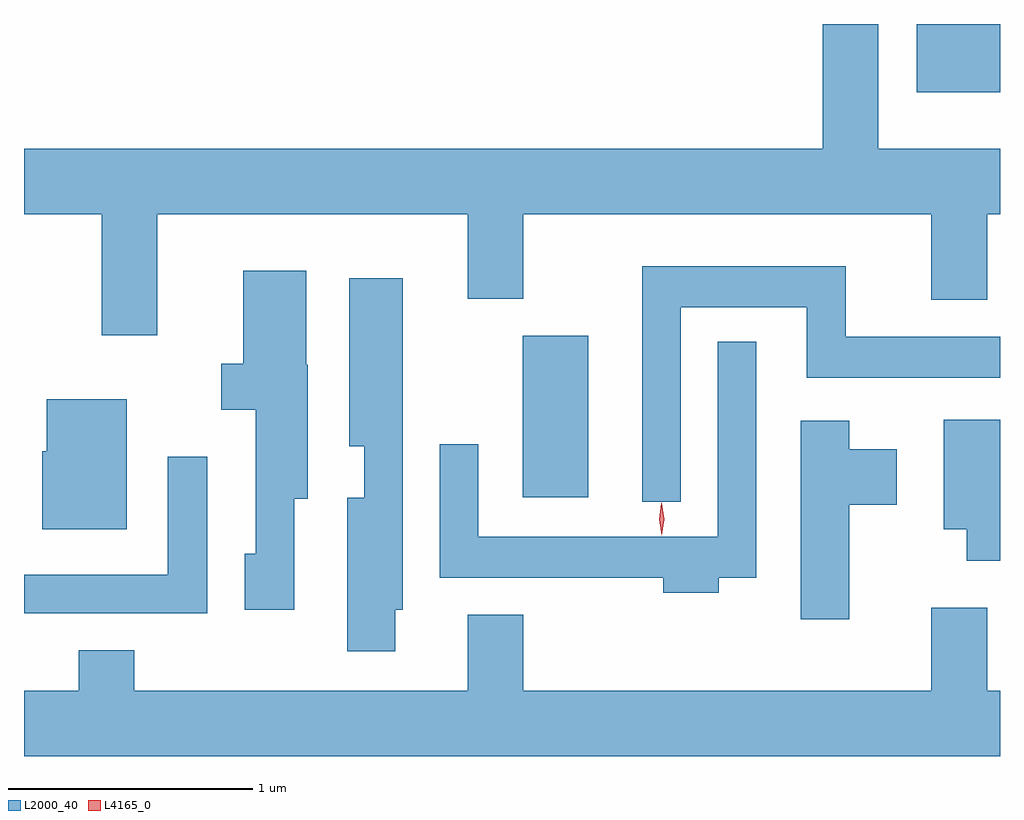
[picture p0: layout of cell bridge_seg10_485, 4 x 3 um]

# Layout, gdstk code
import gdstk
lib = gdstk.Library(unit=1e-6, precision=1e-09)
def R(c, l, rs):  # rectangles x0, y0, x1, y1
    for r in rs: c.add(gdstk.rectangle(r[:2], r[2:], *l))
def P(c, l, *ps):  # polygons
    for p in ps: c.add(gdstk.Polygon(p, *l))
L2000_40 = (2000, 40)
L4165_0 = (4165, 0)

bridge_seg10_485 = lib.new_cell('bridge_seg10_485')
R(bridge_seg10_485, L2000_40, [(907.166,2179.356,907.434,2180.019), (908.781,2181.016,909.122,2181.296)])
P(bridge_seg10_485, L2000_40, [(905.669,2180.516),(906.941,2180.516),(906.941,2180.171),(907.169,2180.171),(907.169,2180.516),(908.841,2180.516),(908.841,2180.166),(909.069,2180.166),(909.069,2180.516),(909.122,2180.516),(909.122,2180.784),(908.624,2180.784),(908.624,2181.296),(908.396,2181.296),(908.396,2180.784),(905.122,2180.784),(905.122,2180.516),(905.441,2180.516),(905.441,2180.021),(905.669,2180.021)],
  [(907.814,2180.136),(908.331,2180.136),(908.331,2179.846),(909.122,2179.846),(909.122,2180.014),(908.489,2180.014),(908.489,2180.304),(907.656,2180.304),(907.656,2179.338),(907.814,2179.338)],
  [(906.229,2179.351),(906.284,2179.351),(906.284,2179.9),(906.279,2179.9),(906.279,2180.284),(906.021,2180.284),(906.021,2179.904),(905.931,2179.904),(905.931,2179.716),(906.071,2179.716),(906.071,2179.124),(906.026,2179.124),(906.026,2178.896),(906.229,2178.896)],
  [(906.644,2178.896),(906.674,2178.896),(906.674,2180.254),(906.456,2180.254),(906.456,2179.566),(906.516,2179.566),(906.516,2179.354),(906.446,2179.354),(906.446,2178.726),(906.644,2178.726)],
  [(907.969,2179.026),(908.124,2179.026),(908.124,2179.993),(907.966,2179.993),(907.966,2179.194),(906.984,2179.194),(906.984,2179.573),(906.826,2179.573),(906.826,2179.026),(907.741,2179.026),(907.741,2178.966),(907.969,2178.966)],
  [(905.544,2179.759),(905.216,2179.759),(905.216,2179.544),(905.196,2179.544),(905.196,2179.226),(905.544,2179.226)],
  [(909.122,2179.674),(908.891,2179.674),(908.891,2179.226),(908.986,2179.226),(908.986,2179.096),(909.122,2179.096)],
  [(908.504,2179.326),(908.699,2179.326),(908.699,2179.554),(908.504,2179.554),(908.504,2179.669),(908.306,2179.669),(908.306,2178.856),(908.504,2178.856)],
  [(905.874,2179.523),(905.711,2179.523),(905.711,2179.039),(905.122,2179.039),(905.122,2178.881),(905.874,2178.881)],
  [(909.122,2178.564),(909.069,2178.564),(909.069,2178.904),(908.841,2178.904),(908.841,2178.564),(907.169,2178.564),(907.169,2178.874),(906.941,2178.874),(906.941,2178.564),(905.574,2178.564),(905.574,2178.729),(905.346,2178.729),(905.346,2178.564),(905.122,2178.564),(905.122,2178.296),(909.122,2178.296)])
P(bridge_seg10_485, L4165_0, [(907.735,2179.2),(907.735,2179.2),(907.725,2179.266),(907.734,2179.332),(907.735,2179.333),(907.735,2179.332),(907.745,2179.266),(907.736,2179.2)])

lib.write_gds('bridge_seg10_485.gds')
